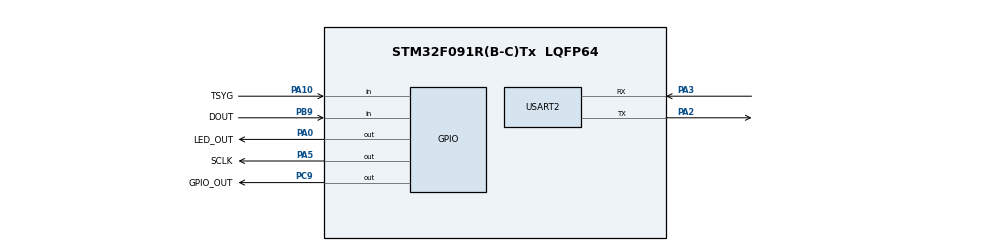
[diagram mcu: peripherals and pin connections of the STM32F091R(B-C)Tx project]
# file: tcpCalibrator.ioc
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Mcu.Family=STM32F0
Mcu.Name=STM32F091R(B-C)Tx
Mcu.Package=LQFP64
PA0.GPIO_Label=LED_OUT
PA0.GPIO_PuPd=GPIO_PULLDOWN
PA0.Signal=GPIO_Output
PA10.GPIO_Label=TSYG
PA10.Signal=GPIO_Input
PA2.Mode=Asynchronous
PA2.Signal=USART2_TX
PA3.Mode=Asynchronous
PA3.Signal=USART2_RX
PA5.GPIO_Label=SCLK
PA5.Signal=GPIO_Output
PB9.GPIO_Label=DOUT
PB9.Signal=GPIO_Input
PC9.GPIO_Label=GPIO_OUT
PC9.GPIO_PuPd=GPIO_PULLDOWN
PC9.Signal=GPIO_Output
ProjectManager.HeapSize=0x200
ProjectManager.StackSize=0x400
ProjectManager.TargetToolchain=STM32CubeIDE
USART2.VirtualMode-Asynchronous=VM_ASYNC
board=custom

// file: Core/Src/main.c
/* USER CODE BEGIN Header */
/**
  ******************************************************************************
  * @file           : main.c
  * @brief          : Main program body
  ******************************************************************************
  * @attention
  *
  * Copyright (c) 2025 STMicroelectronics.
  * All rights reserved.
  *
  * This software is licensed under terms that can be found in the LICENSE file
  * in the root directory of this software component.
  * If no LICENSE file comes with this software, it is provided AS-IS.
  *
  ******************************************************************************
  */
/* USER CODE END Header */
#include <hx711_analyzer.h>
#include "main.h"
#include "usart.h"
#include "gpio.h"

/* USER CODE BEGIN Includes */
#include <stdio.h>
/* USER CODE END Includes */

/* USER CODE BEGIN PV */
static uint8_t checker = 0;
static uint8_t triggered = 0;
/* USER CODE END PV */

void SystemClock_Config(void);
/* USER CODE BEGIN PFP */

void checkInput(void);
/* USER CODE END PFP */

int main(void)
{

  /* MCU Configuration--------------------------------------------------------*/

  /* Reset of all peripherals, Initializes the Flash interface and the Systick. */
  HAL_Init();

  /* Configure the system clock */
  SystemClock_Config();

  /* Initialize all configured peripherals */
  MX_GPIO_Init();
  MX_USART2_UART_Init();
  /* USER CODE BEGIN 2 */
  HAL_GPIO_WritePin(GPIO_OUT_GPIO_Port, GPIO_OUT_Pin, GPIO_PIN_RESET);
  HAL_GPIO_WritePin(LED_OUT_GPIO_Port, LED_OUT_Pin, GPIO_PIN_RESET);
  HX711_Init();
  HAL_Delay(1000);
  /* USER CODE END 2 */

  /* Infinite loop */
  while (1)
  {

    /* USER CODE BEGIN 3 */
	  checkInput();
	  HAL_Delay(10);
  }
  /* USER CODE END 3 */
}

void SystemClock_Config(void)
{
  RCC_OscInitTypeDef RCC_OscInitStruct = {0};
  RCC_ClkInitTypeDef RCC_ClkInitStruct = {0};
  RCC_PeriphCLKInitTypeDef PeriphClkInit = {0};

  /** Initializes the RCC Oscillators according to the specified parameters
  * in the RCC_OscInitTypeDef structure.
  */
  RCC_OscInitStruct.OscillatorType = RCC_OSCILLATORTYPE_HSI;
  RCC_OscInitStruct.HSIState = RCC_HSI_ON;
  RCC_OscInitStruct.HSICalibrationValue = RCC_HSICALIBRATION_DEFAULT;
  RCC_OscInitStruct.PLL.PLLState = RCC_PLL_NONE;
  if (HAL_RCC_OscConfig(&RCC_OscInitStruct) != HAL_OK)
  {
    Error_Handler();
  }

  /** Initializes the CPU, AHB and APB buses clocks
  */
  RCC_ClkInitStruct.ClockType = RCC_CLOCKTYPE_HCLK|RCC_CLOCKTYPE_SYSCLK
                              |RCC_CLOCKTYPE_PCLK1;
  RCC_ClkInitStruct.SYSCLKSource = RCC_SYSCLKSOURCE_HSI;
  RCC_ClkInitStruct.AHBCLKDivider = RCC_SYSCLK_DIV1;
  RCC_ClkInitStruct.APB1CLKDivider = RCC_HCLK_DIV1;

  if (HAL_RCC_ClockConfig(&RCC_ClkInitStruct, FLASH_LATENCY_0) != HAL_OK)
  {
    Error_Handler();
  }
  PeriphClkInit.PeriphClockSelection = RCC_PERIPHCLK_USART2;
  PeriphClkInit.Usart2ClockSelection = RCC_USART2CLKSOURCE_PCLK1;
  if (HAL_RCCEx_PeriphCLKConfig(&PeriphClkInit) != HAL_OK)
  {
    Error_Handler();
  }
}

/* USER CODE BEGIN 4 */
int32_t HX711_Read(void)
{
    int32_t value = 0;

    uint32_t timeout = HAL_GetTick();
    while (HAL_GPIO_ReadPin(DOUT_GPIO_Port, DOUT_Pin))
    {
        if (HAL_GetTick() - timeout > 1000)
        {
            printf("Timeout HX711 - brak odpowiedzi\n");
            return 0;
        }
    }

    for (int i = 0; i < 24; i++)
    {
        HAL_GPIO_WritePin(SCLK_GPIO_Port, SCLK_Pin, GPIO_PIN_SET);
        __NOP(); __NOP();
        value = value << 1;
        HAL_GPIO_WritePin(SCLK_GPIO_Port, SCLK_Pin, GPIO_PIN_RESET);

        if (HAL_GPIO_ReadPin(DOUT_GPIO_Port, DOUT_Pin))
            value++;
    }

    HAL_GPIO_WritePin(SCLK_GPIO_Port, SCLK_Pin, GPIO_PIN_SET);
    HAL_GPIO_WritePin(SCLK_GPIO_Port, SCLK_Pin, GPIO_PIN_RESET);

    if (value & 0x800000)
        value |= 0xFF000000;

    return value;
}

void checkInput(void)
{
	int32_t sample = HX711_Read();
	HX711_Analyzer_Push(sample);

    int32_t dev = HX711_Analyzer_GetDeviation();
    GPIO_PinState pinState = HAL_GPIO_ReadPin(TSYG_GPIO_Port, TSYG_Pin);

    if (dev > 1500 || dev < -1500)
    {
        if (checker < 5)
        {
            checker++;
        }
    }
    else
    {
        checker = 0;
    }

    uint8_t findContact = (pinState == GPIO_PIN_SET);

    if ((checker >= 5) && !triggered)
    {
        triggered = 1;

        uint32_t czas = HAL_GetTick();
        printf("Wykryto kontakr narzędzia: %lu ms\r\n", czas);

        HAL_GPIO_WritePin(LED_OUT_GPIO_Port, LED_OUT_Pin, GPIO_PIN_SET);
        HAL_GPIO_WritePin(GPIO_OUT_GPIO_Port, GPIO_OUT_Pin, GPIO_PIN_SET);
        HAL_Delay(200);
        HAL_GPIO_WritePin(LED_OUT_GPIO_Port, LED_OUT_Pin, GPIO_PIN_RESET);
        HAL_GPIO_WritePin(GPIO_OUT_GPIO_Port, GPIO_OUT_Pin, GPIO_PIN_RESET);

        checker = 0;
        triggered = 0;
    }
}
/* USER CODE END 4 */

void Error_Handler(void)
{
  __disable_irq();
  while (1)
  {
  }
}
